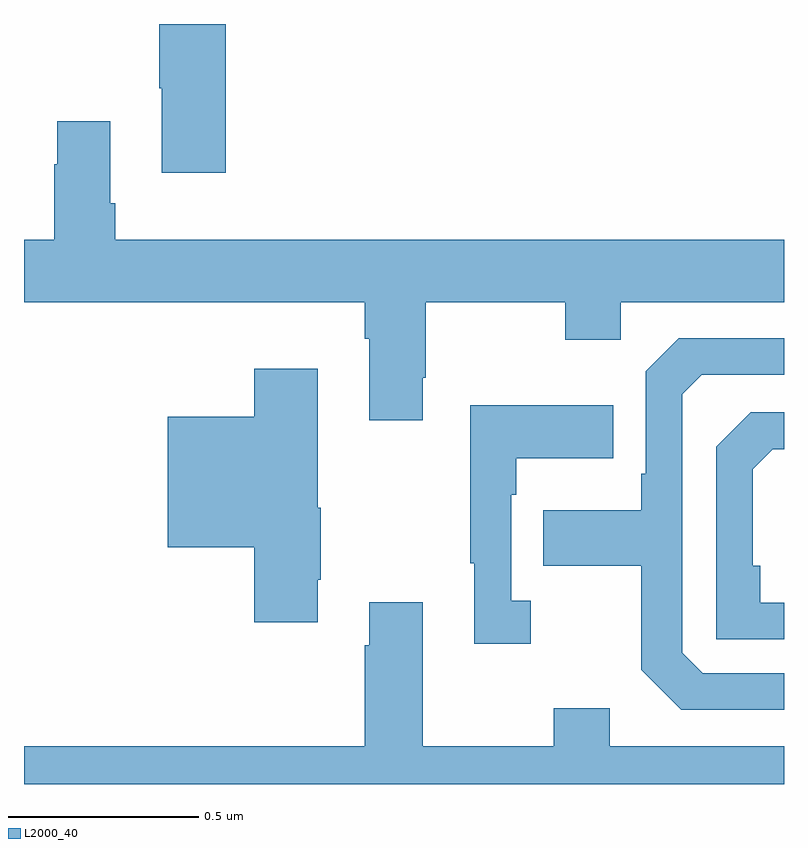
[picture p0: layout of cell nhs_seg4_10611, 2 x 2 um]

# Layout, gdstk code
import gdstk
lib = gdstk.Library(unit=1e-6, precision=1e-09)
def P(c, l, *ps):  # polygons
    for p in ps: c.add(gdstk.Polygon(p, *l))
L2000_40 = (2000, 40)

nhs_seg4_10611 = lib.new_cell('nhs_seg4_10611')
P(nhs_seg4_10611, L2000_40, [(242.531,782.9),(242.356,782.9),(242.356,782.731),(242.363,782.731),(242.363,782.508),(242.531,782.508)],
  [(243.049,781.969),(243.057,781.969),(243.057,782.168),(243.424,782.168),(243.424,782.069),(243.57,782.069),(243.57,782.168),(244,782.168),(244,782.332),(242.24,782.332),(242.24,782.428),(242.227,782.428),(242.227,782.644),(242.087,782.644),(242.087,782.531),(242.08,782.531),(242.08,782.332),(242,782.332),(242,782.168),(242.897,782.168),(242.897,782.072),(242.909,782.072),(242.909,781.857),(243.049,781.857)],
  [(244,781.191),(243.786,781.191),(243.732,781.245),(243.732,781.926),(243.783,781.977),(244,781.977),(244,782.073),(243.723,782.073),(243.636,781.986),(243.636,781.717),(243.624,781.717),(243.624,781.621),(243.367,781.621),(243.367,781.474),(243.624,781.474),(243.624,781.201),(243.729,781.095),(244,781.095)],
  [(242.773,781.438),(242.781,781.438),(242.781,781.627),(242.773,781.627),(242.773,781.993),(242.606,781.993),(242.606,781.867),(242.378,781.867),(242.378,781.523),(242.606,781.523),(242.606,781.326),(242.773,781.326)],
  [(243.334,781.382),(243.282,781.382),(243.282,781.661),(243.295,781.661),(243.295,781.757),(243.551,781.757),(243.551,781.897),(243.174,781.897),(243.174,781.481),(243.185,781.481),(243.185,781.269),(243.334,781.269)],
  [(244,781.377),(243.938,781.377),(243.938,781.474),(243.918,781.474),(243.918,781.728),(243.971,781.781),(244,781.781),(244,781.878),(243.912,781.878),(243.822,781.788),(243.822,781.281),(244,781.281)],
  [(244,781),(243.541,781),(243.541,781.099),(243.394,781.099),(243.394,781),(243.049,781),(243.049,781.378),(242.909,781.378),(242.909,781.265),(242.897,781.265),(242.897,781),(242,781),(242,780.9),(244,780.9)])

lib.write_gds('nhs_seg4_10611.gds')
